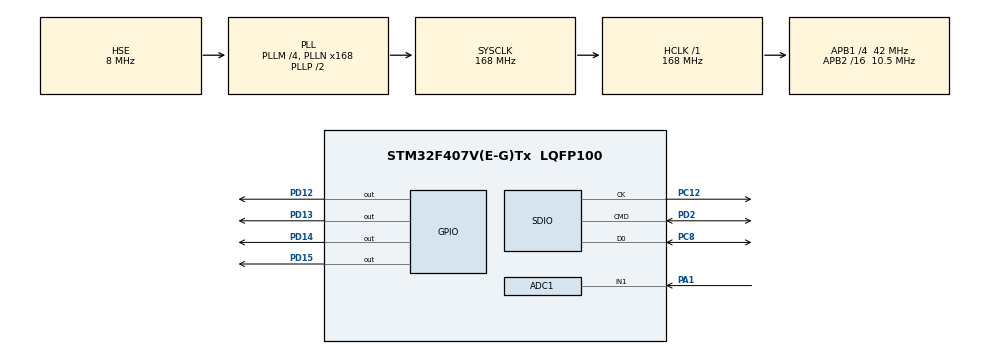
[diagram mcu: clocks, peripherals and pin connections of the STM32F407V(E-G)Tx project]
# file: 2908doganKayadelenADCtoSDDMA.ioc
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ADC1.Channel-0\#ChannelRegularConversion=ADC_CHANNEL_1
ADC1.ClockPrescaler=ADC_CLOCK_SYNC_PCLK_DIV8
ADC1.NbrOfConversionFlag=1
ADC1.Rank-0\#ChannelRegularConversion=1
ADC1.SamplingTime-0\#ChannelRegularConversion=ADC_SAMPLETIME_480CYCLES
ADC1.master=1
Dma.Request0=SDIO_TX
Dma.Request1=SDIO_RX
Dma.SDIO_RX.1.Direction=DMA_PERIPH_TO_MEMORY
Dma.SDIO_RX.1.FIFOMode=DMA_FIFOMODE_ENABLE
Dma.SDIO_RX.1.FIFOThreshold=DMA_FIFO_THRESHOLD_FULL
Dma.SDIO_RX.1.Instance=DMA2_Stream6
Dma.SDIO_RX.1.MemBurst=DMA_MBURST_INC4
Dma.SDIO_RX.1.MemDataAlignment=DMA_MDATAALIGN_WORD
Dma.SDIO_RX.1.MemInc=DMA_MINC_ENABLE
Dma.SDIO_RX.1.Mode=DMA_PFCTRL
Dma.SDIO_RX.1.PeriphBurst=DMA_PBURST_INC4
Dma.SDIO_RX.1.PeriphDataAlignment=DMA_PDATAALIGN_WORD
Dma.SDIO_RX.1.PeriphInc=DMA_PINC_DISABLE
Dma.SDIO_RX.1.Priority=DMA_PRIORITY_LOW
Dma.SDIO_TX.0.Direction=DMA_MEMORY_TO_PERIPH
Dma.SDIO_TX.0.FIFOMode=DMA_FIFOMODE_ENABLE
Dma.SDIO_TX.0.FIFOThreshold=DMA_FIFO_THRESHOLD_FULL
Dma.SDIO_TX.0.Instance=DMA2_Stream3
Dma.SDIO_TX.0.MemBurst=DMA_MBURST_INC4
Dma.SDIO_TX.0.MemDataAlignment=DMA_MDATAALIGN_WORD
Dma.SDIO_TX.0.MemInc=DMA_MINC_ENABLE
Dma.SDIO_TX.0.Mode=DMA_PFCTRL
Dma.SDIO_TX.0.PeriphBurst=DMA_PBURST_INC4
Dma.SDIO_TX.0.PeriphDataAlignment=DMA_PDATAALIGN_WORD
Dma.SDIO_TX.0.PeriphInc=DMA_PINC_DISABLE
Dma.SDIO_TX.0.Priority=DMA_PRIORITY_LOW
FATFS._MAX_SS=4096
Mcu.Family=STM32F4
Mcu.Name=STM32F407V(E-G)Tx
Mcu.Package=LQFP100
NVIC.ADC_IRQn=true\:0\:0\:false\:false\:true
NVIC.DMA2_Stream3_IRQn=true\:0\:0\:false\:false\:true
NVIC.DMA2_Stream6_IRQn=true\:0\:0\:false\:false\:true
NVIC.PriorityGroup=NVIC_PRIORITYGROUP_4
NVIC.SDIO_IRQn=true\:0\:0\:false\:false\:true
PA1.Signal=ADCx_IN1
PA13.Mode=Serial_Wire
PA13.Signal=SYS_JTMS-SWDIO
PA14.Mode=Serial_Wire
PA14.Signal=SYS_JTCK-SWCLK
PC12.Mode=SD_1_bit
PC12.Signal=SDIO_CK
PC8.Mode=SD_1_bit
PC8.Signal=SDIO_D0
PD12.Signal=GPIO_Output
PD13.Signal=GPIO_Output
PD14.Signal=GPIO_Output
PD15.Signal=GPIO_Output
PD2.Mode=SD_1_bit
PD2.Signal=SDIO_CMD
PH0-OSC_IN.Mode=HSE-External-Oscillator
PH0-OSC_IN.Signal=RCC_OSC_IN
PH1-OSC_OUT.Mode=HSE-External-Oscillator
PH1-OSC_OUT.Signal=RCC_OSC_OUT
ProjectManager.HeapSize=0x2000
ProjectManager.StackSize=0x4000
ProjectManager.TargetToolchain=TrueSTUDIO
RCC.48MHZClocksFreq_Value=48000000
RCC.AHBFreq_Value=168000000
RCC.APB1CLKDivider=RCC_HCLK_DIV4
RCC.APB1Freq_Value=42000000
RCC.APB1TimFreq_Value=84000000
RCC.APB2CLKDivider=RCC_HCLK_DIV16
RCC.APB2Freq_Value=10500000
RCC.APB2TimFreq_Value=21000000
RCC.CortexFreq_Value=168000000
RCC.HCLKFreq_Value=168000000
RCC.HSE_VALUE=8000000
RCC.HSI_VALUE=16000000
RCC.LSE_VALUE=32768
RCC.PLLM=4
RCC.PLLN=168
RCC.PLLQ=7
RCC.PLLSourceVirtual=RCC_PLLSOURCE_HSE
RCC.SYSCLKFreq_VALUE=168000000
RCC.SYSCLKSource=RCC_SYSCLKSOURCE_PLLCLK
RCC.VCOOutputFreq_Value=336000000
SH.ADCx_IN1.0=ADC1_IN1,IN1
VP_FATFS_VS_SDIO.Mode=SDIO
board=2908doganKayadelenADCtoSDDMA

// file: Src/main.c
#include "main.h"
#include "stm32f4xx_hal.h"
#include "fatfs.h"

ADC_HandleTypeDef hadc1;

SD_HandleTypeDef hsd;
DMA_HandleTypeDef hdma_sdio_tx;
DMA_HandleTypeDef hdma_sdio_rx;

/* USER CODE BEGIN PV */
/* Private variables ---------------------------------------------------------*/
FATFS myFatFS;
FIL myFile;
UINT myBytes;
FRESULT result;
DSTATUS status;
/* USER CODE END PV */

void SystemClock_Config(void);
static void MX_GPIO_Init(void);
static void MX_DMA_Init(void);
static void MX_SDIO_SD_Init(void);
static void MX_ADC1_Init(void);

/* USER CODE BEGIN PFP */
uint32_t adcResult[13255];
uint32_t i = 0;
char try[4];
char buf[4];
int flag=0;
/* Private function prototypes -----------------------------------------------*/
// ADC interrupt functions
void HAL_ADC_ConvCpltCallback(ADC_HandleTypeDef* hadc)
{
  if(i<13255){
	  adcResult[i] = HAL_ADC_GetValue(&hadc1); // get adc value
	  i++;
	  HAL_ADC_Start_IT(&hadc1);	// start interrupt again
  }
  else {
	  flag=1; // if i reaches 13255 stop interrupt
	  HAL_ADC_Stop_IT(&hadc1);
  }
}
/* USER CODE END PFP */

int main(void)
{

  /* MCU Configuration----------------------------------------------------------*/

  /* Reset of all peripherals, Initializes the Flash interface and the Systick. */
  HAL_Init();

  /* Configure the system clock */
  SystemClock_Config();

  /* Initialize all configured peripherals */
  MX_GPIO_Init();
  MX_DMA_Init();
  MX_SDIO_SD_Init();
  MX_FATFS_Init();
  MX_ADC1_Init();

  /* USER CODE BEGIN 2 */
  HAL_ADC_Start_IT(&hadc1);

  /* USER CODE END 2 */

  /* Infinite loop */
  while (1)
  {

  /* USER CODE BEGIN 3 */
	  HAL_GPIO_WritePin(GPIOD, GPIO_PIN_13,GPIO_PIN_SET);
// if adc interrupt is closed that means conversion have done
	  if(flag==1){
		  status = disk_initialize(0);
		  result = f_mount(&myFatFS, SD_Path, 1);
		  char myFileName[]="ADC1.txt";
		  result = f_open(&myFile,myFileName, FA_CREATE_NEW | FA_WRITE);

		  for(int counter=0; counter<13255; counter++){
			  // take bytes
			  try[0]=(adcResult[counter])/1000;
			  try[1]=(adcResult[counter]/100)%10;
			  try[2]=(adcResult[counter]/10)%10;
			  try[3]=adcResult[counter]%10;
			  // 48 corresponds ascii
			  buf[0]=try[0]+48;
			  buf[1]=try[1]+48;
			  buf[2]=try[2]+48;
			  buf[3]=try[3]+48;

			  result = f_lseek(&myFile, myFile.fsize);
			  result = f_write(&myFile, buf, sizeof(buf), &myBytes);
		  }
		  result= f_close(&myFile);
		  flag=0;
		  HAL_GPIO_WritePin(GPIOD, GPIO_PIN_12, GPIO_PIN_SET);
	  }

  }
  /* USER CODE END 3 */

}

/** System Clock Configuration
*/
void SystemClock_Config(void)
{

  RCC_OscInitTypeDef RCC_OscInitStruct;
  RCC_ClkInitTypeDef RCC_ClkInitStruct;

    /**Configure the main internal regulator output voltage
    */
  __HAL_RCC_PWR_CLK_ENABLE();

  __HAL_PWR_VOLTAGESCALING_CONFIG(PWR_REGULATOR_VOLTAGE_SCALE1);

    /**Initializes the CPU, AHB and APB busses clocks
    */
  RCC_OscInitStruct.OscillatorType = RCC_OSCILLATORTYPE_HSE;
  RCC_OscInitStruct.HSEState = RCC_HSE_ON;
  RCC_OscInitStruct.PLL.PLLState = RCC_PLL_ON;
  RCC_OscInitStruct.PLL.PLLSource = RCC_PLLSOURCE_HSE;
  RCC_OscInitStruct.PLL.PLLM = 4;
  RCC_OscInitStruct.PLL.PLLN = 168;
  RCC_OscInitStruct.PLL.PLLP = RCC_PLLP_DIV2;
  RCC_OscInitStruct.PLL.PLLQ = 7;
  if (HAL_RCC_OscConfig(&RCC_OscInitStruct) != HAL_OK)
  {
    _Error_Handler(__FILE__, __LINE__);
  }

    /**Initializes the CPU, AHB and APB busses clocks
    */
  RCC_ClkInitStruct.ClockType = RCC_CLOCKTYPE_HCLK|RCC_CLOCKTYPE_SYSCLK
                              |RCC_CLOCKTYPE_PCLK1|RCC_CLOCKTYPE_PCLK2;
  RCC_ClkInitStruct.SYSCLKSource = RCC_SYSCLKSOURCE_PLLCLK;
  RCC_ClkInitStruct.AHBCLKDivider = RCC_SYSCLK_DIV1;
  RCC_ClkInitStruct.APB1CLKDivider = RCC_HCLK_DIV4;
  RCC_ClkInitStruct.APB2CLKDivider = RCC_HCLK_DIV16;

  if (HAL_RCC_ClockConfig(&RCC_ClkInitStruct, FLASH_LATENCY_5) != HAL_OK)
  {
    _Error_Handler(__FILE__, __LINE__);
  }

    /**Configure the Systick interrupt time
    */
  HAL_SYSTICK_Config(HAL_RCC_GetHCLKFreq()/1000);

    /**Configure the Systick
    */
  HAL_SYSTICK_CLKSourceConfig(SYSTICK_CLKSOURCE_HCLK);

  /* SysTick_IRQn interrupt configuration */
  HAL_NVIC_SetPriority(SysTick_IRQn, 0, 0);
}

/* ADC1 init function */
static void MX_ADC1_Init(void)
{

  ADC_ChannelConfTypeDef sConfig;

    /**Configure the global features of the ADC (Clock, Resolution, Data Alignment and number of conversion)
    */
  hadc1.Instance = ADC1;
  hadc1.Init.ClockPrescaler = ADC_CLOCK_SYNC_PCLK_DIV8;
  hadc1.Init.Resolution = ADC_RESOLUTION_12B;
  hadc1.Init.ScanConvMode = DISABLE;
  hadc1.Init.ContinuousConvMode = DISABLE;
  hadc1.Init.DiscontinuousConvMode = DISABLE;
  hadc1.Init.ExternalTrigConvEdge = ADC_EXTERNALTRIGCONVEDGE_NONE;
  hadc1.Init.ExternalTrigConv = ADC_SOFTWARE_START;
  hadc1.Init.DataAlign = ADC_DATAALIGN_RIGHT;
  hadc1.Init.NbrOfConversion = 1;
  hadc1.Init.DMAContinuousRequests = DISABLE;
  hadc1.Init.EOCSelection = ADC_EOC_SINGLE_CONV;
  if (HAL_ADC_Init(&hadc1) != HAL_OK)
  {
    _Error_Handler(__FILE__, __LINE__);
  }

    /**Configure for the selected ADC regular channel its corresponding rank in the sequencer and its sample time.
    */
  sConfig.Channel = ADC_CHANNEL_1;
  sConfig.Rank = 1;
  sConfig.SamplingTime = ADC_SAMPLETIME_480CYCLES;
  if (HAL_ADC_ConfigChannel(&hadc1, &sConfig) != HAL_OK)
  {
    _Error_Handler(__FILE__, __LINE__);
  }

}

/* SDIO init function */
static void MX_SDIO_SD_Init(void)
{

  hsd.Instance = SDIO;
  hsd.Init.ClockEdge = SDIO_CLOCK_EDGE_RISING;
  hsd.Init.ClockBypass = SDIO_CLOCK_BYPASS_DISABLE;
  hsd.Init.ClockPowerSave = SDIO_CLOCK_POWER_SAVE_DISABLE;
  hsd.Init.BusWide = SDIO_BUS_WIDE_1B;
  hsd.Init.HardwareFlowControl = SDIO_HARDWARE_FLOW_CONTROL_DISABLE;
  hsd.Init.ClockDiv = 0;

}

static void MX_DMA_Init(void)
{
  /* DMA controller clock enable */
  __HAL_RCC_DMA2_CLK_ENABLE();

  /* DMA interrupt init */
  /* DMA2_Stream3_IRQn interrupt configuration */
  HAL_NVIC_SetPriority(DMA2_Stream3_IRQn, 0, 0);
  HAL_NVIC_EnableIRQ(DMA2_Stream3_IRQn);
  /* DMA2_Stream6_IRQn interrupt configuration */
  HAL_NVIC_SetPriority(DMA2_Stream6_IRQn, 0, 0);
  HAL_NVIC_EnableIRQ(DMA2_Stream6_IRQn);

}

/** Configure pins as
        * Analog
        * Input
        * Output
        * EVENT_OUT
        * EXTI
*/
static void MX_GPIO_Init(void)
{

  GPIO_InitTypeDef GPIO_InitStruct;

  /* GPIO Ports Clock Enable */
  __HAL_RCC_GPIOH_CLK_ENABLE();
  __HAL_RCC_GPIOA_CLK_ENABLE();
  __HAL_RCC_GPIOD_CLK_ENABLE();
  __HAL_RCC_GPIOC_CLK_ENABLE();

  /*Configure GPIO pin Output Level */
  HAL_GPIO_WritePin(GPIOD, GPIO_PIN_12|GPIO_PIN_13|GPIO_PIN_14|GPIO_PIN_15, GPIO_PIN_RESET);

  /*Configure GPIO pins : PD12 PD13 PD14 PD15 */
  GPIO_InitStruct.Pin = GPIO_PIN_12|GPIO_PIN_13|GPIO_PIN_14|GPIO_PIN_15;
  GPIO_InitStruct.Mode = GPIO_MODE_OUTPUT_PP;
  GPIO_InitStruct.Pull = GPIO_NOPULL;
  GPIO_InitStruct.Speed = GPIO_SPEED_FREQ_LOW;
  HAL_GPIO_Init(GPIOD, &GPIO_InitStruct);

}

void _Error_Handler(char * file, int line)
{
  while(1)
  {
  }
}

/************************ (C) COPYRIGHT STMicroelectronics *****END OF FILE****/
